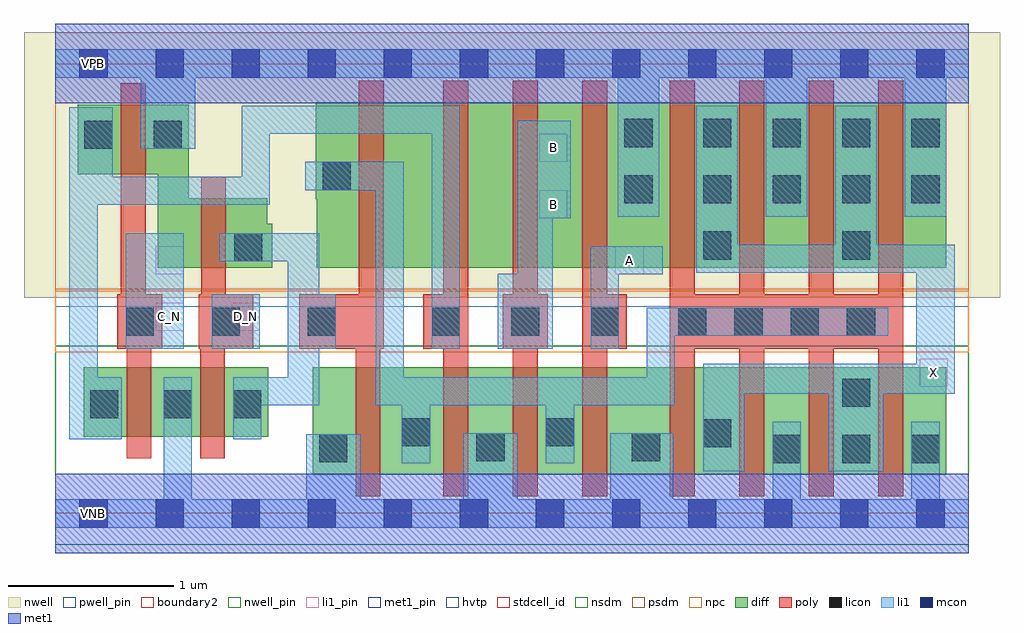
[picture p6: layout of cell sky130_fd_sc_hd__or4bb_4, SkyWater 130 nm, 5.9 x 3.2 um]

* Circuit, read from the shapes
.subckt sky130_fd_sc_hd__or4bb_4 A B C_N D_N VGND VNB VPB VPWR X
XM1 VGND C_N n1 VNB sky130_fd_pr__nfet_01v8 w=0.42 l=0.15
XM2 n2 D_N VGND VNB sky130_fd_pr__nfet_01v8 w=0.42 l=0.15
XM3 n3 n2 VGND VNB sky130_fd_pr__nfet_01v8 w=0.65 l=0.15
XM4 VGND n1 n3 VNB sky130_fd_pr__nfet_01v8 w=0.65 l=0.15
XM5 n3 B VGND VNB sky130_fd_pr__nfet_01v8 w=0.65 l=0.15
XM6 VGND A n3 VNB sky130_fd_pr__nfet_01v8 w=0.65 l=0.15
XM7 X n3 VGND VNB sky130_fd_pr__nfet_01v8 w=0.65 l=0.15 m=4
XM8 VPWR C_N n1 VPB sky130_fd_pr__pfet_01v8_hvt w=0.42 l=0.15
XM9 n2 D_N VPWR VPB sky130_fd_pr__pfet_01v8_hvt w=0.42 l=0.15
XM10 n4 n2 n3 VPB sky130_fd_pr__pfet_01v8_hvt w=1 l=0.15
XM11 n5 n1 n4 VPB sky130_fd_pr__pfet_01v8_hvt w=1 l=0.15
XM12 n6 B n5 VPB sky130_fd_pr__pfet_01v8_hvt w=1 l=0.15
XM13 VPWR A n6 VPB sky130_fd_pr__pfet_01v8_hvt w=1 l=0.15
XM14 X n3 VPWR VPB sky130_fd_pr__pfet_01v8_hvt w=1 l=0.15 m=4
.ends

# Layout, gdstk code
import gdstk
lib = gdstk.Library(unit=1e-6, precision=1e-09)
def R(c, l, rs):  # rectangles x0, y0, x1, y1
    for r in rs: c.add(gdstk.rectangle(r[:2], r[2:], *l))
def A(c, l, x, y, w, h, nx, ny, dx, dy):  # array of equal rectangles
    R(c, l, [(x+i*dx, y+j*dy, x+i*dx+w, y+j*dy+h) for i in range(nx) for j in range(ny)])
def P(c, l, *ps):  # polygons
    for p in ps: c.add(gdstk.Polygon(p, *l))
nwell_pin = (64, 16)
nwell = (64, 20)
diff = (65, 20)
poly = (66, 20)
licon = (66, 44)
li1_pin = (67, 16)
li1 = (67, 20)
mcon = (67, 44)
met1_pin = (68, 16)
met1 = (68, 20)
hvtp = (78, 44)
stdcell_id = (81, 4)
nsdm = (93, 44)
psdm = (94, 20)
npc = (95, 20)
pwell_pin = (122, 16)
boundary2 = (236, 0)

sky130_fd_sc_hd__or4bb_4 = lib.new_cell('sky130_fd_sc_hd__or4bb_4')
R(sky130_fd_sc_hd__or4bb_4, nwell_pin, [(0.145,2.635,0.315,2.805)])
R(sky130_fd_sc_hd__or4bb_4, nwell, [(-0.19,1.305,5.71,2.91)])
R(sky130_fd_sc_hd__or4bb_4, diff, [(1.555,0.235,5.385,0.885), (0.17,0.465,1.285,0.885)])
P(sky130_fd_sc_hd__or4bb_4, diff, [(1.31,1.75),(1.28,1.75),(1.28,1.905),(0.805,1.905),(0.805,2.47),(0.135,2.47),(0.135,2.05),(0.62,2.05),(0.62,1.485),(1.31,1.485)],
  [(5.385,2.485),(1.575,2.485),(1.575,1.9),(1.58,1.9),(1.58,1.485),(5.385,1.485)])
R(sky130_fd_sc_hd__or4bb_4, poly, [(0.395,1.3,0.545,2.6), (0.88,1.3,1.03,2.035)])
P(sky130_fd_sc_hd__or4bb_4, poly, [(0.645,1.325),(0.375,1.325),(0.375,0.995),(0.43,0.995),(0.43,0.335),(0.58,0.335),(0.58,0.995),(0.645,0.995)],
  [(1.985,2.615),(1.835,2.615),(1.835,1.325),(1.475,1.325),(1.475,0.995),(1.815,0.995),(1.815,0.105),(1.965,0.105),(1.965,0.995),(1.985,0.995)],
  [(2.495,2.615),(2.345,2.615),(2.345,1.325),(2.225,1.325),(2.225,0.995),(2.345,0.995),(2.345,0.105),(2.495,0.105)],
  [(2.975,1.325),(2.915,1.325),(2.915,2.615),(2.765,2.615),(2.765,1.325),(2.705,1.325),(2.705,0.995),(2.765,0.995),(2.765,0.105),(2.915,0.105),(2.915,0.995),(2.975,0.995)],
  [(3.455,1.325),(3.335,1.325),(3.335,2.615),(3.185,2.615),(3.185,0.105),(3.335,0.105),(3.335,0.995),(3.455,0.995)],
  [(5.125,2.615),(4.975,2.615),(4.975,1.325),(4.705,1.325),(4.705,2.615),(4.555,2.615),(4.555,1.325),(4.285,1.325),(4.285,2.615),(4.135,2.615),(4.135,1.325),(3.865,1.325),(3.865,2.615),(3.715,2.615),(3.715,0.105),(3.865,0.105),(3.865,0.995),(4.135,0.995),(4.135,0.105),(4.285,0.105),(4.285,0.995),(4.555,0.995),(4.555,0.105),(4.705,0.105),(4.705,0.995),(4.975,0.995),(4.975,0.105),(5.125,0.105)],
  [(1.195,1.325),(0.865,1.325),(0.865,0.995),(0.875,0.995),(0.875,0.335),(1.025,0.335),(1.025,0.995),(1.195,0.995)])
A(sky130_fd_sc_hd__or4bb_4, licon, 4.335, 0.305, 0.17, 0.17, 3, 1, 0.42, 0)
A(sky130_fd_sc_hd__or4bb_4, licon, 2.275, 1.075, 0.17, 0.17, 3, 1, 0.48, 0)
A(sky130_fd_sc_hd__or4bb_4, licon, 3.765, 1.075, 0.17, 0.17, 4, 1, 0.34, 0)
A(sky130_fd_sc_hd__or4bb_4, licon, 3.915, 1.875, 0.17, 0.17, 4, 2, 0.42, 0.34)
R(sky130_fd_sc_hd__or4bb_4, licon, [(1.595,0.31,1.765,0.48), (2.545,0.315,2.715,0.485), (3.485,0.315,3.655,0.485), (3.915,0.4,4.085,0.57), (2.095,0.405,2.265,0.575), (2.965,0.405,3.135,0.575), (0.21,0.575,0.38,0.745), (0.655,0.575,0.825,0.745), (1.075,0.575,1.245,0.745), (4.755,0.645,4.925,0.815), (0.425,1.075,0.595,1.245), (0.945,1.075,1.115,1.245), (1.525,1.075,1.695,1.245), (1.08,1.525,1.25,1.695), (3.915,1.535,4.085,1.705), (4.755,1.535,4.925,1.705), (3.44,1.875,3.61,2.045), (1.615,1.955,1.785,2.125), (0.175,2.205,0.345,2.375), (0.595,2.205,0.765,2.375), (3.44,2.215,3.61,2.385)])
R(sky130_fd_sc_hd__or4bb_4, li1_pin, [(5.225,0.765,5.395,0.935), (0.605,1.105,0.775,1.275), (1.065,1.105,1.235,1.275), (0.605,1.445,0.775,1.615), (3.385,1.445,3.555,1.615), (2.925,1.785,3.095,1.955), (2.925,2.125,3.095,2.295)])
R(sky130_fd_sc_hd__or4bb_4, li1, [(0.425,0.995,0.775,1.695), (0.945,0.995,1.235,1.325)])
P(sky130_fd_sc_hd__or4bb_4, li1, [(5.52,0.085),(5.345,0.085),(5.345,0.555),(5.175,0.555),(5.175,0.085),(4.505,0.085),(4.505,0.555),(4.335,0.555),(4.335,0.085),(3.735,0.085),(3.735,0.485),(3.355,0.485),(3.355,0.085),(2.795,0.085),(2.795,0.485),(2.465,0.485),(2.465,0.085),(1.845,0.085),(1.845,0.48),(1.515,0.48),(1.515,0.085),(0.825,0.085),(0.825,0.825),(0.655,0.825),(0.655,0.085),(0,0.085),(0,-0.085),(5.52,-0.085)],
  [(5.52,2.805),(0,2.805),(0,2.635),(0.515,2.635),(0.515,2.205),(0.845,2.205),(0.845,2.635),(3.4,2.635),(3.4,1.795),(3.65,1.795),(3.65,2.635),(4.295,2.635),(4.295,1.795),(4.545,1.795),(4.545,2.635),(5.135,2.635),(5.135,1.795),(5.385,1.795),(5.385,2.635),(5.52,2.635)],
  [(1.695,1.325),(1.595,1.325),(1.595,1.695),(0.99,1.695),(0.99,1.525),(1.405,1.525),(1.405,0.825),(1.075,0.825),(1.075,0.45),(1.245,0.45),(1.245,0.655),(1.595,0.655),(1.595,0.995),(1.695,0.995)],
  [(2.445,2.465),(1.125,2.465),(1.125,2.035),(0.345,2.035),(0.345,2.455),(0.085,2.455),(0.085,0.45),(0.4,0.45),(0.4,0.825),(0.255,0.825),(0.255,1.865),(1.295,1.865),(1.295,2.295),(2.275,2.295),(2.275,0.995),(2.445,0.995)],
  [(3.115,2.375),(2.795,2.375),(2.795,1.45),(2.675,1.45),(2.675,0.995),(3.005,0.995),(3.005,1.785),(3.115,1.785)],
  [(3.67,1.615),(3.235,1.615),(3.235,0.995),(3.405,0.995),(3.405,1.445),(3.67,1.445)],
  [(5.035,1.245),(3.575,1.245),(3.575,0.825),(2.105,0.825),(2.105,2.125),(1.51,2.125),(1.51,1.955),(1.935,1.955),(1.935,0.655),(2.095,0.655),(2.095,0.305),(2.265,0.305),(2.265,0.655),(2.965,0.655),(2.965,0.305),(3.135,0.305),(3.135,0.655),(3.745,0.655),(3.745,1.075),(5.035,1.075)],
  [(5.435,1.625),(4.965,1.625),(4.965,2.465),(4.715,2.465),(4.715,1.625),(4.125,1.625),(4.125,2.465),(3.875,2.465),(3.875,1.455),(5.205,1.455),(5.205,0.905),(3.915,0.905),(3.915,0.255),(4.165,0.255),(4.165,0.725),(4.675,0.725),(4.675,0.255),(5.005,0.255),(5.005,0.725),(5.435,0.725)])
A(sky130_fd_sc_hd__or4bb_4, mcon, 0.145, -0.085, 0.17, 0.17, 12, 2, 0.46, 2.72)
R(sky130_fd_sc_hd__or4bb_4, met1_pin, [(0.145,-0.085,0.315,0.085), (0.145,2.635,0.315,2.805)])
R(sky130_fd_sc_hd__or4bb_4, hvtp, [(0,1.25,5.52,2.72)])
R(sky130_fd_sc_hd__or4bb_4, stdcell_id, [(0,0,5.52,2.72)])
R(sky130_fd_sc_hd__or4bb_4, nsdm, [(0,-0.19,5.52,1.015)])
R(sky130_fd_sc_hd__or4bb_4, psdm, [(0,1.355,5.52,2.91)])
R(sky130_fd_sc_hd__or4bb_4, npc, [(0,0.975,5.52,1.345)])
R(sky130_fd_sc_hd__or4bb_4, pwell_pin, [(0.145,-0.085,0.315,0.085)])
R(sky130_fd_sc_hd__or4bb_4, boundary2, [(0,0,5.52,2.72)])
sky130_fd_sc_hd__or4bb_4.add(gdstk.FlexPath([(0,2.72),(5.52,2.72)], 0.48, ends="flush", simple_path=True, layer=68, datatype=20))  # met1
sky130_fd_sc_hd__or4bb_4.add(gdstk.FlexPath([(0,0),(5.52,0)], 0.48, ends="flush", simple_path=True, layer=68, datatype=20))  # met1
sky130_fd_sc_hd__or4bb_4.add(gdstk.Label('D_N', (1.15,1.19), layer=67, texttype=5))
sky130_fd_sc_hd__or4bb_4.add(gdstk.Label('B', (3.01,2.21), layer=67, texttype=5))
sky130_fd_sc_hd__or4bb_4.add(gdstk.Label('B', (3.01,1.87), layer=67, texttype=5))
sky130_fd_sc_hd__or4bb_4.add(gdstk.Label('A', (3.47,1.53), layer=67, texttype=5))
sky130_fd_sc_hd__or4bb_4.add(gdstk.Label('C_N', (0.69,1.19), layer=67, texttype=5))
sky130_fd_sc_hd__or4bb_4.add(gdstk.Label('X', (5.31,0.85), layer=67, texttype=5))
sky130_fd_sc_hd__or4bb_4.add(gdstk.Label('VNB', (0.23,0), layer=64, texttype=59))
sky130_fd_sc_hd__or4bb_4.add(gdstk.Label('VPB', (0.23,2.72), layer=64, texttype=5))
sky130_fd_sc_hd__or4bb_4.add(gdstk.Label('VGND', (0.23,0), layer=68, texttype=5))
sky130_fd_sc_hd__or4bb_4.add(gdstk.Label('VPWR', (0.23,2.72), layer=68, texttype=5))
sky130_fd_sc_hd__or4bb_4.add(gdstk.Label('or4bb_4', (0,0), layer=83, texttype=44))

lib.write_gds('sky130_fd_sc_hd__or4bb_4.gds')
